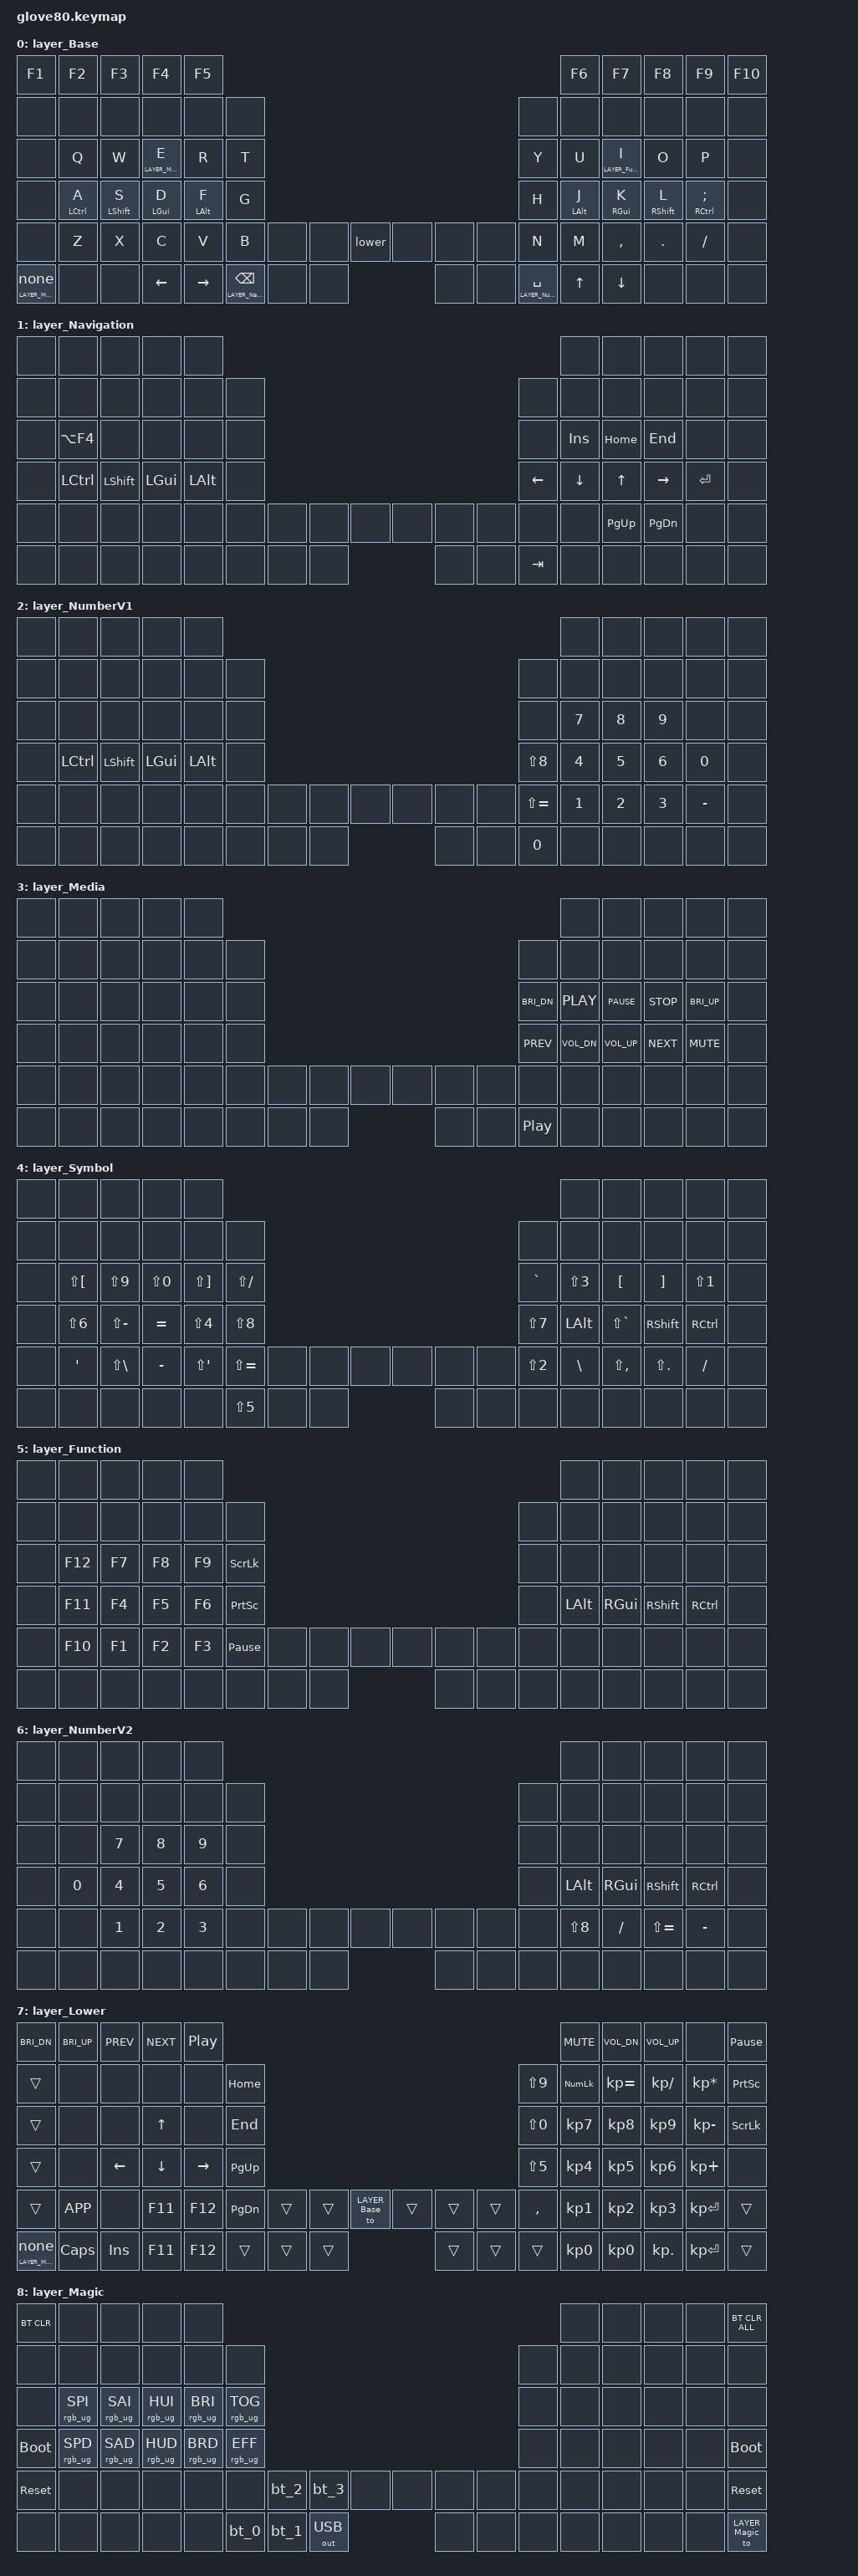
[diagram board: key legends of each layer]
/*
 * Copyright (c) 2020 The ZMK Contributors
 * Copyright (c) 2025 Innaworks Development Limited, trading as MoErgo
 *
 * SPDX-License-Identifier: MIT
 */


/* THIS FILE WAS GENERATED BY GLOVE80 LAYOUT EDITOR
 *
 * This file was generated automatically. You may or may not want to
 * edit it directly.
 */

#include <behaviors.dtsi>
/* Include all behavior includes needed */
#include <dt-bindings/zmk/outputs.h>
#include <dt-bindings/zmk/keys.h>
#include <dt-bindings/zmk/bt.h>
#include <dt-bindings/zmk/rgb.h>

/* On demand includes */


/* Helper Macros, based on https://github.com/urob/zmk-helpers/ */

#pragma once

#define ZMK_HELPER_STRINGIFY(x) #x

// Preprocessor mechanism to overload macros, cf. https://stackoverflow.com/a/27051616/6114651
#define VARGS_(_10, _9, _8, _7, _6, _5, _4, _3, _2, _1, N, ...) N
#define VARGS(...) VARGS_(__VA_ARGS__, 10, 9, 8, 7, 6, 5, 4, 3, 2, 1, 0)
#define CONCAT_(a, b) a##b
#define CONCAT(a, b) CONCAT_(a, b)

#define ZMK_BEHAVIOR_CORE_tap_dance  \
    compatible = "zmk,behavior-tap-dance"; \
    #binding-cells = <0>

#define ZMK_BEHAVIOR(name, type, ...) \
    name: name { \
        ZMK_BEHAVIOR_CORE_ ## type; \
        __VA_ARGS__ \
    };

#define ZMK_TAP_DANCE(name, ...) \
    ZMK_BEHAVIOR(name, tap_dance, __VA_ARGS__)

#define ZMK_TD_LAYER(name, layer) \
    ZMK_TAP_DANCE(name, \
        tapping-term-ms = <200>; \
        bindings = <&mo layer>, <&to layer>; \
)

/* Environment and metadata defines */
#define KB_TYPE_GLOVE_80 1
#define KB_TYPE_GO_60    2

#define KB_TYPE          KB_TYPE_GLOVE_80
#define EDITOR_HOST_OS   'W'

/* Automatically generated layer name defines */
#define LAYER_Base 0
#define LAYER_Navigation 1
#define LAYER_NumberV1 2
#define LAYER_Media 3
#define LAYER_Symbol 4
#define LAYER_Function 5
#define LAYER_NumberV2 6
#define LAYER_Lower 7
#define LAYER_Magic 8

/* To deal with the situation where there is no Lower layer, to keep &lower happy */
#ifndef LAYER_Lower
#define LAYER_Lower 0
#endif

/* Custom Device-tree */


/* Input Listeners */


/* System behavior and Macros */
/ {
    behaviors {
        ZMK_TD_LAYER(lower, LAYER_Lower)
    };
};

/ {
#ifdef BT_DISC_CMD
    behaviors {
        bt_0: bt_0 {
            compatible = "zmk,behavior-tap-dance";
            label = "BT_0";
            #binding-cells = <0>;
            tapping-term-ms = <200>;
            bindings = <&bt_select_0>, <&bt BT_DISC 0>;
        };
        bt_1: bt_1 {
            compatible = "zmk,behavior-tap-dance";
            label = "BT_1";
            #binding-cells = <0>;
            tapping-term-ms = <200>;
            bindings = <&bt_select_1>, <&bt BT_DISC 1>;
        };
        bt_2: bt_2 {
            compatible = "zmk,behavior-tap-dance";
            label = "BT_2";
            #binding-cells = <0>;
            tapping-term-ms = <200>;
            bindings = <&bt_select_2>, <&bt BT_DISC 2>;
        };
        bt_3: bt_3 {
            compatible = "zmk,behavior-tap-dance";
            label = "BT_3";
            #binding-cells = <0>;
            tapping-term-ms = <200>;
            bindings = <&bt_select_3>, <&bt BT_DISC 3>;
        };
    };
    macros {
        bt_select_0: bt_select_0 {
            label = "BT_SELECT_0";
            compatible = "zmk,behavior-macro";
            #binding-cells = <0>;
            bindings
                = <&out OUT_BLE>,
                  <&bt BT_SEL 0>;
        };
        bt_select_1: bt_select_1 {
            label = "BT_SELECT_1";
            compatible = "zmk,behavior-macro";
            #binding-cells = <0>;
            bindings
                = <&out OUT_BLE>,
                  <&bt BT_SEL 1>;
        };
        bt_select_2: bt_select_2 {
            label = "BT_SELECT_2";
            compatible = "zmk,behavior-macro";
            #binding-cells = <0>;
            bindings
                = <&out OUT_BLE>,
                  <&bt BT_SEL 2>;
        };
        bt_select_3: bt_select_3 {
            label = "BT_SELECT_3";
            compatible = "zmk,behavior-macro";
            #binding-cells = <0>;
            bindings
                = <&out OUT_BLE>,
                  <&bt BT_SEL 3>;
        };
    };
#else
    macros {
        bt_0: bt_0 {
            label = "BT_0";
            compatible = "zmk,behavior-macro";
            #binding-cells = <0>;
            bindings
                = <&out OUT_BLE>,
                  <&bt BT_SEL 0>;
        };
        bt_1: bt_1 {
            label = "BT_1";
            compatible = "zmk,behavior-macro";
            #binding-cells = <0>;
            bindings
                = <&out OUT_BLE>,
                  <&bt BT_SEL 1>;
        };
        bt_2: bt_2 {
            label = "BT_2";
            compatible = "zmk,behavior-macro";
            #binding-cells = <0>;
            bindings
                = <&out OUT_BLE>,
                  <&bt BT_SEL 2>;
        };
        bt_3: bt_3 {
            label = "BT_3";
            compatible = "zmk,behavior-macro";
            #binding-cells = <0>;
            bindings
                = <&out OUT_BLE>,
                  <&bt BT_SEL 3>;
        };
    };
#endif
};

/ {
    behaviors {
        magic: magic {
            compatible = "zmk,behavior-hold-tap";
            label = "MAGIC_HOLD_TAP";
            #binding-cells = <2>;
            flavor = "tap-preferred";
            tapping-term-ms = <200>;
            bindings = <&mo>, <&none>;
        };
    };
};


/* Key positions */

#define POS_LH_C6R1 0
#define POS_LH_C5R1 1
#define POS_LH_C4R1 2
#define POS_LH_C3R1 3
#define POS_LH_C2R1 4
#define POS_RH_C2R1 5
#define POS_RH_C3R1 6
#define POS_RH_C4R1 7
#define POS_RH_C5R1 8
#define POS_RH_C6R1 9
#define POS_LH_C6R2 10
#define POS_LH_C5R2 11
#define POS_LH_C4R2 12
#define POS_LH_C3R2 13
#define POS_LH_C2R2 14
#define POS_LH_C1R2 15
#define POS_RH_C1R2 16
#define POS_RH_C2R2 17
#define POS_RH_C3R2 18
#define POS_RH_C4R2 19
#define POS_RH_C5R2 20
#define POS_RH_C6R2 21
#define POS_LH_C6R3 22
#define POS_LH_C5R3 23
#define POS_LH_C4R3 24
#define POS_LH_C3R3 25
#define POS_LH_C2R3 26
#define POS_LH_C1R3 27
#define POS_RH_C1R3 28
#define POS_RH_C2R3 29
#define POS_RH_C3R3 30
#define POS_RH_C4R3 31
#define POS_RH_C5R3 32
#define POS_RH_C6R3 33
#define POS_LH_C6R4 34
#define POS_LH_C5R4 35
#define POS_LH_C4R4 36
#define POS_LH_C3R4 37
#define POS_LH_C2R4 38
#define POS_LH_C1R4 39
#define POS_RH_C1R4 40
#define POS_RH_C2R4 41
#define POS_RH_C3R4 42
#define POS_RH_C4R4 43
#define POS_RH_C5R4 44
#define POS_RH_C6R4 45
#define POS_LH_C6R5 46
#define POS_LH_C5R5 47
#define POS_LH_C4R5 48
#define POS_LH_C3R5 49
#define POS_LH_C2R5 50
#define POS_LH_C1R5 51
#define POS_LH_T1 52
#define POS_LH_T2 53
#define POS_LH_T3 54
#define POS_RH_T3 55
#define POS_RH_T2 56
#define POS_RH_T1 57
#define POS_RH_C1R5 58
#define POS_RH_C2R5 59
#define POS_RH_C3R5 60
#define POS_RH_C4R5 61
#define POS_RH_C5R5 62
#define POS_RH_C6R5 63
#define POS_LH_C6R6 64
#define POS_LH_C5R6 65
#define POS_LH_C4R6 66
#define POS_LH_C3R6 67
#define POS_LH_C2R6 68
#define POS_LH_T4 69
#define POS_LH_T5 70
#define POS_LH_T6 71
#define POS_RH_T6 72
#define POS_RH_T5 73
#define POS_RH_T4 74
#define POS_RH_C2R6 75
#define POS_RH_C3R6 76
#define POS_RH_C4R6 77
#define POS_RH_C5R6 78
#define POS_RH_C6R6 79


/* Custom Defined Behaviors */
/ {
behaviors {
    lt_numberv1: lt_numberv1 {
        compatible = "zmk,behavior-hold-tap";
        #binding-cells = <2>;
        tapping-term-ms = <270>;
        bindings = <&mo>, <&kp>;
        flavor = "balanced";
        quick-tap-ms = <180>;
        require-prior-idle-ms = <150>;
        hold-while-undecided-linger;
    };

    lt_function: lt_function {
        compatible = "zmk,behavior-hold-tap";
        #binding-cells = <2>;
        tapping-term-ms = <270>;
        bindings = <&mo>, <&kp>;
        flavor = "balanced";
        quick-tap-ms = <180>;
        require-prior-idle-ms = <150>;
        hold-while-undecided-linger;
    };
};
};

/* Generated input processors */


/* Automatically generated macro definitions */
/ {
    macros {

    };
};

/* Automatically generated behavior definitions */
/ {
    behaviors {


        hml: hml {
            compatible = "zmk,behavior-hold-tap";
            #binding-cells = <2>;
            tapping-term-ms = <280>;
            bindings = <&kp>, <&kp>;
            flavor = "balanced";
            quick-tap-ms = <175>;
            require-prior-idle-ms = <150>;
            hold-trigger-on-release;
            hold-trigger-key-positions = <
                POS_RH_C2R1 POS_RH_C3R1 POS_RH_C4R1 POS_RH_C5R1 POS_RH_C6R1
                POS_RH_C1R2 POS_RH_C2R2 POS_RH_C3R2 POS_RH_C4R2 POS_RH_C5R2 POS_RH_C6R2
                POS_RH_C1R3 POS_RH_C2R3 POS_RH_C3R3 POS_RH_C4R3 POS_RH_C5R3 POS_RH_C6R3
                POS_RH_C1R4 POS_RH_C2R4 POS_RH_C3R4 POS_RH_C4R4 POS_RH_C5R4 POS_RH_C6R4
                POS_RH_C1R5 POS_RH_C2R5 POS_RH_C3R5 POS_RH_C4R5 POS_RH_C5R5 POS_RH_C6R5
                POS_RH_C2R6 POS_RH_C3R6 POS_RH_C4R6 POS_RH_C5R6 POS_RH_C6R6
                POS_LH_T1 POS_LH_T2 POS_LH_T3 POS_LH_T4 POS_LH_T5 POS_LH_T6
                POS_RH_T1 POS_RH_T2 POS_RH_T3 POS_RH_T4 POS_RH_T5 POS_RH_T6
            >;
        };

        hmr: hmr {
            compatible = "zmk,behavior-hold-tap";
            #binding-cells = <2>;
            tapping-term-ms = <280>;
            bindings = <&kp>, <&kp>;
            flavor = "balanced";
            quick-tap-ms = <175>;
            require-prior-idle-ms = <150>;
            hold-trigger-on-release;
            hold-trigger-key-positions = <
                POS_LH_C6R1 POS_LH_C5R1 POS_LH_C4R1 POS_LH_C3R1 POS_LH_C2R1
                POS_LH_C6R2 POS_LH_C5R2 POS_LH_C4R2 POS_LH_C3R2 POS_LH_C2R2 POS_LH_C1R2
                POS_LH_C6R3 POS_LH_C5R3 POS_LH_C4R3 POS_LH_C3R3 POS_LH_C2R3 POS_LH_C1R3
                POS_LH_C6R4 POS_LH_C5R4 POS_LH_C4R4 POS_LH_C3R4 POS_LH_C2R4 POS_LH_C1R4
                POS_LH_C6R5 POS_LH_C5R5 POS_LH_C4R5 POS_LH_C3R5 POS_LH_C2R5 POS_LH_C1R5
                POS_LH_C6R6 POS_LH_C5R6 POS_LH_C4R6 POS_LH_C3R6 POS_LH_C2R6
                POS_LH_T1 POS_LH_T2 POS_LH_T3 POS_LH_T4 POS_LH_T5 POS_LH_T6
                POS_RH_T1 POS_RH_T2 POS_RH_T3 POS_RH_T4 POS_RH_T5 POS_RH_T6
            >;
        };
    };
};

/* Automatically generated combos definitions */
/ {
    combos {
        compatible = "zmk,combos";

        combo_at_sign {
            timeout-ms = <20>;
            key-positions = <POS_LH_C4R3 POS_LH_C3R3>;
            bindings = <&kp LS(N2)>;
            layers = <LAYER_Base>;
            require-prior-idle-ms = <150>;
        };

        combo_left_paren {
            timeout-ms = <20>;
            key-positions = <POS_RH_C2R4 POS_RH_C3R4>;
            bindings = <&kp LS(N9)>;
            layers = <LAYER_Base>;
            require-prior-idle-ms = <150>;
        };

        combo_exclamation {
            timeout-ms = <20>;
            key-positions = <POS_LH_C4R3 POS_LH_C5R3>;
            bindings = <&kp LS(N1)>;
            layers = <LAYER_Base>;
            require-prior-idle-ms = <150>;
        };

        combo_pound_sign {
            timeout-ms = <20>;
            key-positions = <POS_LH_C3R3 POS_LH_C2R3>;
            bindings = <&kp LS(N3)>;
            layers = <LAYER_Base>;
            require-prior-idle-ms = <150>;
        };

        combo_caret {
            timeout-ms = <20>;
            key-positions = <POS_LH_C4R4 POS_LH_C5R4>;
            bindings = <&kp LS(N6)>;
            layers = <LAYER_Base>;
            require-prior-idle-ms = <150>;
        };

        combo_dollar {
            timeout-ms = <20>;
            key-positions = <POS_LH_C3R4 POS_LH_C2R4>;
            bindings = <&kp LS(N4)>;
            layers = <LAYER_Base>;
            require-prior-idle-ms = <150>;
        };

        combo_percent {
            timeout-ms = <20>;
            key-positions = <POS_LH_C5R5 POS_LH_C4R5>;
            bindings = <&kp LS(N5)>;
            layers = <LAYER_Base>;
            require-prior-idle-ms = <150>;
        };

        combo_amp {
            timeout-ms = <20>;
            key-positions = <POS_RH_C2R3 POS_RH_C3R3>;
            bindings = <&kp LS(N7)>;
            layers = <LAYER_Base>;
            require-prior-idle-ms = <150>;
        };

        combo_underscore {
            timeout-ms = <20>;
            key-positions = <POS_LH_C4R5 POS_LH_C3R5>;
            bindings = <&kp LS(MINUS)>;
            layers = <LAYER_Base>;
            require-prior-idle-ms = <150>;
        };

        combo_equal {
            timeout-ms = <20>;
            key-positions = <POS_LH_C4R4 POS_LH_C3R4>;
            bindings = <&kp EQUAL>;
            layers = <LAYER_Base>;
            require-prior-idle-ms = <150>;
        };

        combo_dash {
            timeout-ms = <20>;
            key-positions = <POS_LH_C2R5 POS_LH_C3R5>;
            bindings = <&kp MINUS>;
            layers = <LAYER_Base>;
            require-prior-idle-ms = <150>;
        };

        combo_double_quot {
            timeout-ms = <20>;
            key-positions = <POS_RH_C3R4 POS_RH_C4R4>;
            bindings = <&kp LS(SQT)>;
            layers = <LAYER_Base>;
            require-prior-idle-ms = <150>;
        };

        combo_cut {
            timeout-ms = <20>;
            key-positions = <POS_LH_C5R5 POS_LH_C4R5>;
            bindings = <&kp LC(X)>;
            layers = <LAYER_Navigation>;
            require-prior-idle-ms = <150>;
        };

        combo_copy {
            timeout-ms = <20>;
            key-positions = <POS_LH_C4R5 POS_LH_C3R5>;
            bindings = <&kp LC(INS)>;
            layers = <LAYER_Navigation>;
            require-prior-idle-ms = <150>;
        };

        combo_paste {
            timeout-ms = <20>;
            key-positions = <POS_LH_C3R5 POS_LH_C2R5>;
            bindings = <&kp LS(INS)>;
            layers = <LAYER_Navigation>;
            require-prior-idle-ms = <150>;
        };

        combo_right_paren {
            timeout-ms = <20>;
            key-positions = <POS_RH_C4R4 POS_RH_C5R4>;
            bindings = <&kp LS(N0)>;
            layers = <LAYER_Base>;
            require-prior-idle-ms = <150>;
        };

        combo_asterisk {
            timeout-ms = <20>;
            key-positions = <POS_RH_C3R3 POS_RH_C4R3>;
            bindings = <&kp LS(N8)>;
            layers = <LAYER_Base>;
            require-prior-idle-ms = <150>;
        };

        combo_single_quot {
            timeout-ms = <20>;
            key-positions = <POS_RH_C3R5 POS_RH_C4R5>;
            bindings = <&kp SQT>;
            layers = <LAYER_Base>;
            require-prior-idle-ms = <150>;
        };

        combo_delete {
            timeout-ms = <30>;
            key-positions = <POS_RH_C3R3 POS_RH_C2R4>;
            bindings = <&kp DEL>;
            layers = <LAYER_Base>;
            require-prior-idle-ms = <50>;
        };

        combo_backslash_pipe {
            timeout-ms = <20>;
            key-positions = <POS_RH_C4R3 POS_RH_C5R3>;
            bindings = <&kp BSLH>;
            layers = <LAYER_Base>;
            require-prior-idle-ms = <150>;
        };

        combo_esc {
            timeout-ms = <30>;
            key-positions = <POS_LH_C4R4 POS_LH_C3R3>;
            bindings = <&kp ESC>;
            layers = <LAYER_Base>;
            require-prior-idle-ms = <50>;
        };
    };
};

/* Automatically generated keymap */
/ {
    keymap {
        compatible = "zmk,keymap";


        layer_Base {
            bindings = <
               &kp F1            &kp F2             &kp F3               &kp F4          &kp F5                                                                                                                        &kp F6                         &kp F7             &kp F8               &kp F9  &kp F10
                &none             &none              &none                &none           &none   &none                                                                                                 &none           &none                          &none              &none                &none    &none
                &none             &kp Q              &kp W    &lt LAYER_Media E           &kp R   &kp T                                                                                                 &kp Y           &kp U  &lt_function LAYER_Function I              &kp O                &kp P    &none
                &none  &hml LCTRL A  &hml LSHFT S  &hml LGUI D  &hml LALT F   &kp G                                                                                                 &kp H  &hmr LALT J            &hmr RGUI K  &hmr RSHFT L  &hmr RCTRL SEMI    &none
                &none             &kp Z              &kp X                &kp C           &kp V   &kp B                      &none   &none  &lower   &none   &none                              &none   &kp N           &kp M                      &kp COMMA            &kp DOT             &kp FSLH    &none
 &magic LAYER_Magic 0             &none              &none             &kp LEFT       &kp RIGHT          &lt LAYER_Navigation BSPC   &none   &none   &none   &none  &lt_numberv1 LAYER_NumberV2 SPACE                  &kp UP                       &kp DOWN              &none                &none    &none
            >;
        };

        layer_Navigation {
            bindings = <
  &none       &none      &none     &none     &none                                                                        &none      &none      &none    &none   &none
  &none       &none      &none     &none     &none   &none                                                      &none     &none      &none      &none    &none   &none
  &none  &kp LA(F4)      &none     &none     &none   &none                                                      &none   &kp INS   &kp HOME    &kp END    &none   &none
  &none   &kp LCTRL  &kp LSHFT  &kp LGUI  &kp LALT   &none                                                   &kp LEFT  &kp DOWN     &kp UP  &kp RIGHT  &kp RET   &none
  &none       &none      &none     &none     &none   &none   &none   &none   &none   &none   &none    &none     &none     &none  &kp PG_UP  &kp PG_DN    &none   &none
  &none       &none      &none     &none     &none           &none   &none   &none   &none   &none  &kp TAB               &none      &none      &none    &none   &none
            >;
        };

        layer_NumberV1 {
            bindings = <
  &none      &none      &none     &none     &none                                                                          &none   &none   &none      &none   &none
  &none      &none      &none     &none     &none   &none                                                          &none   &none   &none   &none      &none   &none
  &none      &none      &none     &none     &none   &none                                                          &none  &kp N7  &kp N8  &kp N9      &none   &none
  &none  &kp LCTRL  &kp LSHFT  &kp LGUI  &kp LALT   &none                                                     &kp LS(N8)  &kp N4  &kp N5  &kp N6     &kp N0   &none
  &none      &none      &none     &none     &none   &none   &none   &none   &none   &none   &none   &none  &kp LS(EQUAL)  &kp N1  &kp N2  &kp N3  &kp MINUS   &none
  &none      &none      &none     &none     &none           &none   &none   &none   &none   &none  &kp N0                  &none   &none   &none      &none   &none
            >;
        };

        layer_Media {
            bindings = <
  &none   &none   &none   &none   &none                                                                                 &none         &none       &none         &none   &none
  &none   &none   &none   &none   &none   &none                                                           &none         &none         &none       &none         &none   &none
  &none   &none   &none   &none   &none   &none                                                    &kp C_BRI_DN    &kp C_PLAY   &kp C_PAUSE  &kp C_STOP  &kp C_BRI_UP   &none
  &none   &none   &none   &none   &none   &none                                                      &kp C_PREV  &kp C_VOL_DN  &kp C_VOL_UP  &kp C_NEXT    &kp C_MUTE   &none
  &none   &none   &none   &none   &none   &none   &none   &none   &none   &none   &none     &none         &none         &none         &none       &none         &none   &none
  &none   &none   &none   &none   &none           &none   &none   &none   &none   &none  &kp C_PP                       &none         &none       &none         &none   &none
            >;
        };

        layer_Symbol {
            bindings = <
  &none         &none          &none       &none         &none                                                                                      &none          &none        &none       &none   &none
  &none         &none          &none       &none         &none          &none                                                           &none       &none          &none        &none       &none   &none
  &none  &kp LS(LBKT)     &kp LS(N9)  &kp LS(N0)  &kp LS(RBKT)   &kp LS(FSLH)                                                       &kp GRAVE  &kp LS(N3)       &kp LBKT     &kp RBKT  &kp LS(N1)   &none
  &none    &kp LS(N6)  &kp LS(MINUS)   &kp EQUAL    &kp LS(N4)     &kp LS(N8)                                                      &kp LS(N7)    &kp LALT  &kp LS(GRAVE)    &kp RSHFT   &kp RCTRL   &none
  &none       &kp SQT   &kp LS(BSLH)   &kp MINUS   &kp LS(SQT)  &kp LS(EQUAL)       &none   &none   &none   &none   &none   &none  &kp LS(N2)    &kp BSLH  &kp LS(COMMA)  &kp LS(DOT)    &kp FSLH   &none
  &none         &none          &none       &none         &none                 &kp LS(N5)   &none   &none   &none   &none   &none                   &none          &none        &none       &none   &none
            >;
        };

        layer_Function {
            bindings = <
  &none    &none   &none   &none   &none                                                                              &none     &none      &none      &none   &none
  &none    &none   &none   &none   &none            &none                                                   &none     &none     &none      &none      &none   &none
  &none  &kp F12  &kp F7  &kp F8  &kp F9         &kp SLCK                                                   &none     &none     &none      &none      &none   &none
  &none  &kp F11  &kp F4  &kp F5  &kp F6        &kp PSCRN                                                   &none  &kp LALT  &kp RGUI  &kp RSHFT  &kp RCTRL   &none
  &none  &kp F10  &kp F1  &kp F2  &kp F3  &kp PAUSE_BREAK   &none   &none   &none   &none   &none   &none   &none     &none     &none      &none      &none   &none
  &none    &none   &none   &none   &none                    &none   &none   &none   &none   &none   &none             &none     &none      &none      &none   &none
            >;
        };

        layer_NumberV2 {
            bindings = <
  &none   &none   &none   &none   &none                                                                       &none     &none          &none      &none   &none
  &none   &none   &none   &none   &none   &none                                                   &none       &none     &none          &none      &none   &none
  &none   &none  &kp N7  &kp N8  &kp N9   &none                                                   &none       &none     &none          &none      &none   &none
  &none  &kp N0  &kp N4  &kp N5  &kp N6   &none                                                   &none    &kp LALT  &kp RGUI      &kp RSHFT  &kp RCTRL   &none
  &none   &none  &kp N1  &kp N2  &kp N3   &none   &none   &none   &none   &none   &none   &none   &none  &kp LS(N8)  &kp FSLH  &kp LS(EQUAL)  &kp MINUS   &none
  &none   &none   &none   &none   &none           &none   &none   &none   &none   &none   &none               &none     &none          &none      &none   &none
            >;
        };

        layer_Lower {
            bindings = <
         &kp C_BRI_DN  &kp C_BRI_UP      &kp C_PREV      &kp C_NEXT         &kp C_PP                                                                                 &kp C_MUTE  &kp C_VOL_DN  &kp C_VOL_UP            &none  &kp PAUSE_BREAK
               &trans         &none           &none           &none            &none   &kp HOME                                                          &kp LS(N9)  &kp KP_NUM  &kp KP_EQUAL  &kp KP_SLASH  &kp KP_MULTIPLY  &kp PRINTSCREEN
               &trans         &none           &none    &kp UP_ARROW            &none    &kp END                                                          &kp LS(N0)   &kp KP_N7     &kp KP_N8     &kp KP_N9     &kp KP_MINUS   &kp SCROLLLOCK
               &trans         &none  &kp LEFT_ARROW  &kp DOWN_ARROW  &kp RIGHT_ARROW  &kp PG_UP                                                          &kp LS(N5)   &kp KP_N4     &kp KP_N5     &kp KP_N6      &kp KP_PLUS            &none
               &trans     &kp K_APP           &none         &kp F11          &kp F12  &kp PG_DN  &trans  &trans  &to LAYER_Base  &trans  &trans  &trans   &kp COMMA   &kp KP_N1     &kp KP_N2     &kp KP_N3     &kp KP_ENTER           &trans
 &magic LAYER_Magic 0      &kp CAPS         &kp INS         &kp F11          &kp F12             &trans  &trans          &trans  &trans  &trans  &trans               &kp KP_N0     &kp KP_N0    &kp KP_DOT     &kp KP_ENTER           &trans
            >;
        };

        layer_Magic {
            bindings = <
  &bt BT_CLR            &none            &none            &none            &none                                                                                  &none   &none   &none   &none   &bt BT_CLR_ALL
       &none            &none            &none            &none            &none            &none                                                         &none   &none   &none   &none   &none            &none
       &none  &rgb_ug RGB_SPI  &rgb_ug RGB_SAI  &rgb_ug RGB_HUI  &rgb_ug RGB_BRI  &rgb_ug RGB_TOG                                                         &none   &none   &none   &none   &none            &none
 &bootloader  &rgb_ug RGB_SPD  &rgb_ug RGB_SAD  &rgb_ug RGB_HUD  &rgb_ug RGB_BRD  &rgb_ug RGB_EFF                                                         &none   &none   &none   &none   &none      &bootloader
  &sys_reset            &none            &none            &none            &none            &none   &bt_2   &bt_3         &none   &none   &none   &none   &none   &none   &none   &none   &none       &sys_reset
       &none            &none            &none            &none            &none                    &bt_0   &bt_1  &out OUT_USB   &none   &none   &none           &none   &none   &none   &none  &to LAYER_Magic
            >;
        };

    };
};
